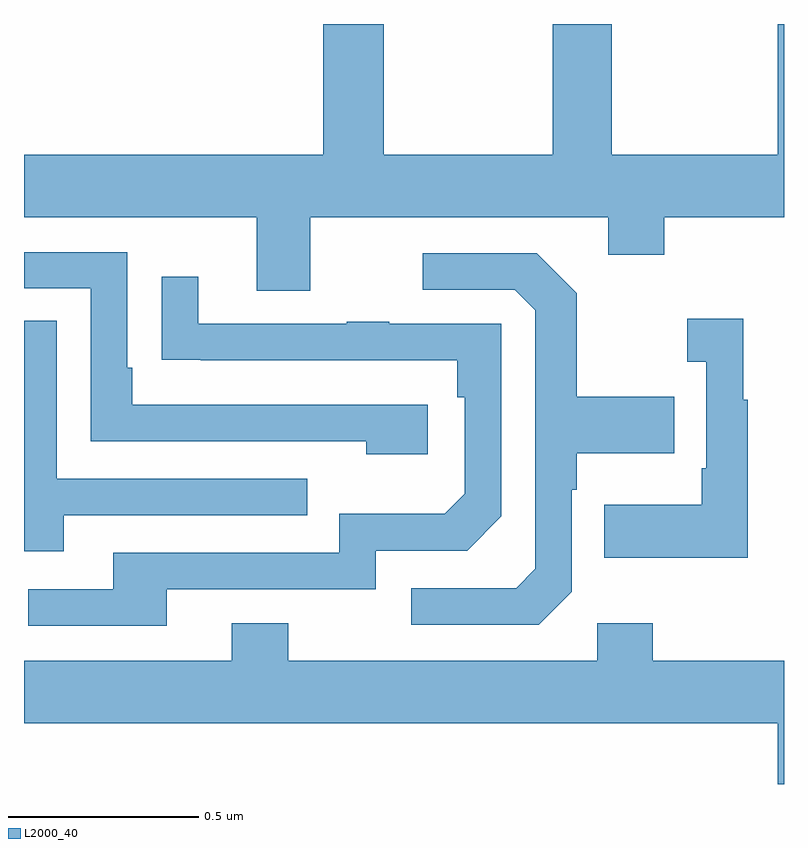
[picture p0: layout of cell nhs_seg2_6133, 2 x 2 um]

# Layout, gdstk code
import gdstk
lib = gdstk.Library(unit=1e-6, precision=1e-09)
def P(c, l, *ps):  # polygons
    for p in ps: c.add(gdstk.Polygon(p, *l))
L2000_40 = (2000, 40)

nhs_seg2_6133 = lib.new_cell('nhs_seg2_6133')
P(nhs_seg2_6133, L2000_40, [(187.753,658.292),(188.537,658.292),(188.537,658.193),(188.685,658.193),(188.685,658.292),(189,658.292),(189,658.8),(188.984,658.8),(188.984,658.456),(188.547,658.456),(188.547,658.8),(188.392,658.8),(188.392,658.456),(187.947,658.456),(187.947,658.8),(187.787,658.8),(187.787,658.456),(187,658.456),(187,658.292),(187.613,658.292),(187.613,658.098),(187.753,658.098)],
  [(188.062,657.798),(187.285,657.798),(187.285,657.895),(187.272,657.895),(187.272,658.2),(187,658.2),(187,658.104),(187.176,658.104),(187.176,657.702),(187.901,657.702),(187.901,657.668),(188.062,657.668)],
  [(188.442,657.306),(188.442,657.575),(188.455,657.575),(188.455,657.671),(188.711,657.671),(188.711,657.819),(188.455,657.819),(188.455,658.091),(188.349,658.197),(188.049,658.197),(188.049,658.101),(188.292,658.101),(188.346,658.047),(188.346,657.366),(188.295,657.315),(188.019,657.315),(188.019,657.219),(188.355,657.219)],
  [(187.375,657.312),(187.926,657.312),(187.926,657.414),(188.166,657.414),(188.256,657.504),(188.256,658.011),(187.961,658.011),(187.961,658.016),(187.849,658.016),(187.849,658.011),(187.459,658.011),(187.459,658.135),(187.363,658.135),(187.363,657.916),(187.465,657.916),(187.465,657.915),(188.14,657.915),(188.14,657.818),(188.16,657.818),(188.16,657.564),(188.107,657.511),(187.83,657.511),(187.83,657.408),(187.235,657.408),(187.235,657.312),(187.011,657.312),(187.011,657.216),(187.375,657.216)],
  [(188.905,657.811),(188.893,657.811),(188.893,658.024),(188.745,658.024),(188.745,657.911),(188.796,657.911),(188.796,657.631),(188.784,657.631),(188.784,657.535),(188.527,657.535),(188.527,657.395),(188.905,657.395)],
  [(187.105,657.507),(187.745,657.507),(187.745,657.603),(187.086,657.603),(187.086,658.019),(187,658.019),(187,657.413),(187.105,657.413)],
  [(189,657.124),(188.655,657.124),(188.655,657.223),(188.508,657.223),(188.508,657.124),(187.695,657.124),(187.695,657.223),(187.547,657.223),(187.547,657.124),(187,657.124),(187,656.96),(188.984,656.96),(188.984,656.8),(189,656.8)])

lib.write_gds('nhs_seg2_6133.gds')
